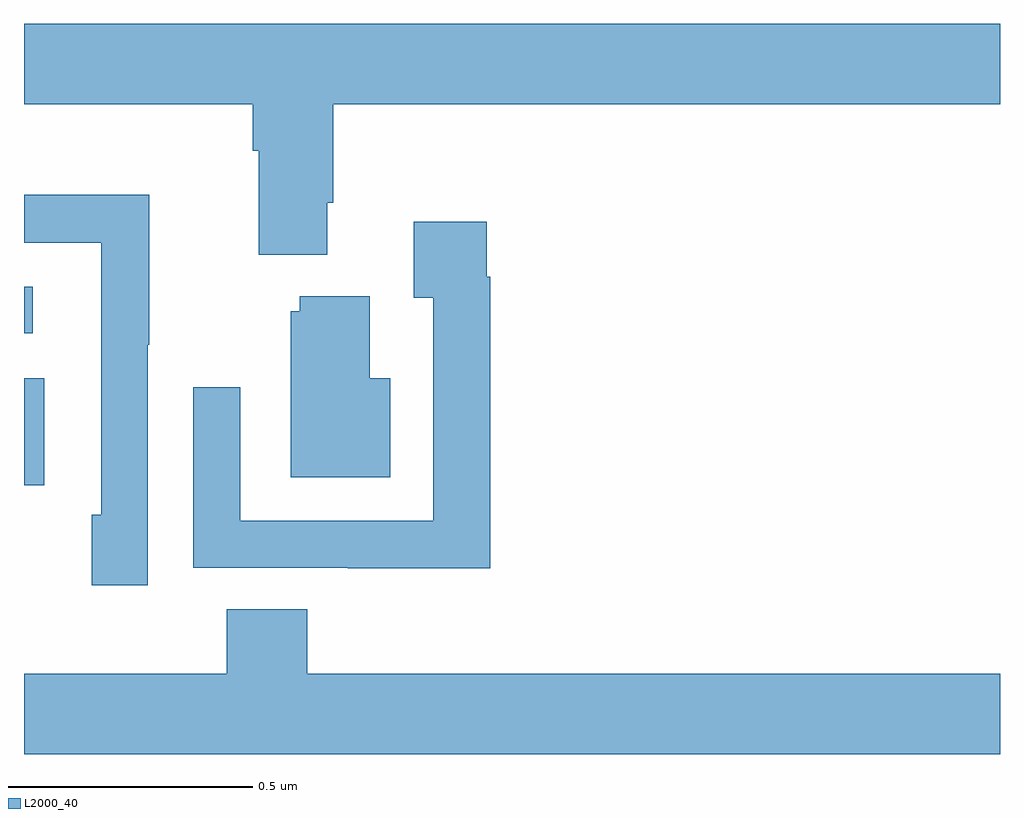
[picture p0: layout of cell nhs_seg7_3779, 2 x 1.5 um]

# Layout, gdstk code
import gdstk
lib = gdstk.Library(unit=1e-6, precision=1e-09)
def R(c, l, rs):  # rectangles x0, y0, x1, y1
    for r in rs: c.add(gdstk.rectangle(r[:2], r[2:], *l))
def P(c, l, *ps):  # polygons
    for p in ps: c.add(gdstk.Polygon(p, *l))
L2000_40 = (2000, 40)

nhs_seg7_3779 = lib.new_cell('nhs_seg7_3779')
R(nhs_seg7_3779, L2000_40, [(163,1051.783,163.042,1052.002), (163,1052.094,163.018,1052.19)])
P(nhs_seg7_3779, L2000_40, [(163.621,1052.362),(163.634,1052.362),(163.634,1052.564),(165,1052.564),(165,1052.728),(163,1052.728),(163,1052.564),(163.469,1052.564),(163.469,1052.468),(163.481,1052.468),(163.481,1052.255),(163.621,1052.255)],
  [(163.254,1052.071),(163.257,1052.071),(163.257,1052.378),(163,1052.378),(163,1052.28),(163.158,1052.28),(163.158,1051.722),(163.139,1051.722),(163.139,1051.578),(163.254,1051.578)],
  [(163.955,1052.21),(163.948,1052.21),(163.948,1052.323),(163.799,1052.323),(163.799,1052.167),(163.839,1052.167),(163.839,1051.71),(163.443,1051.71),(163.443,1051.984),(163.347,1051.984),(163.347,1051.614),(163.663,1051.614),(163.663,1051.613),(163.955,1051.613)],
  [(163.75,1052.002),(163.708,1052.002),(163.708,1052.17),(163.565,1052.17),(163.565,1052.139),(163.547,1052.139),(163.547,1051.799),(163.75,1051.799)],
  [(165,1051.396),(163.58,1051.396),(163.58,1051.529),(163.415,1051.529),(163.415,1051.396),(163,1051.396),(163,1051.232),(165,1051.232)])

lib.write_gds('nhs_seg7_3779.gds')
